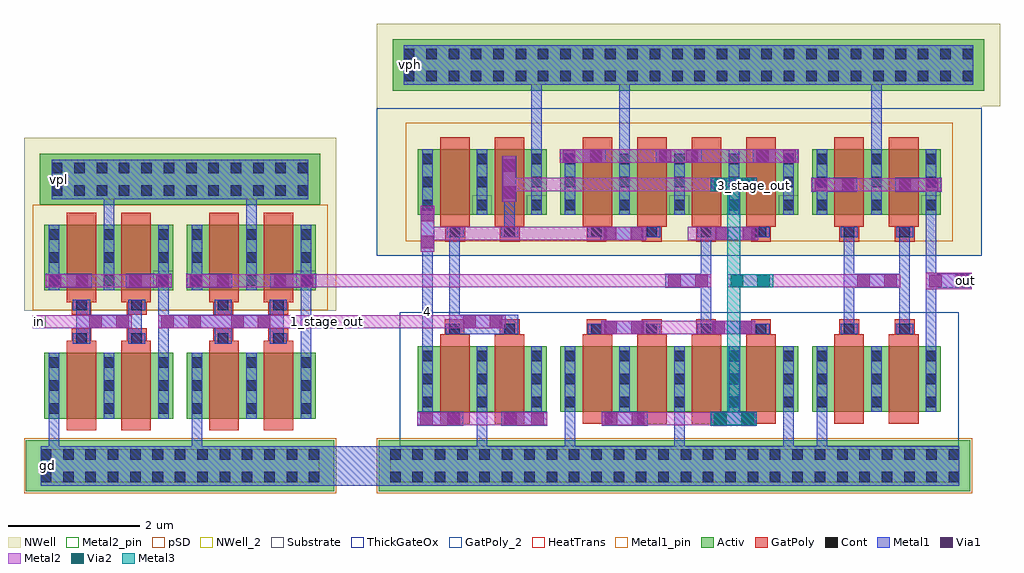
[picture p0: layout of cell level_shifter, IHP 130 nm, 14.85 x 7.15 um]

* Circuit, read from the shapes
.subckt level_shifter 1_stage_out 3_stage_out 4 gd in out vph vpl
XM1 n1 in gd gd sg13_lv_nmos w=1u l=0.45u
XM2 1_stage_out in n1 gd sg13_lv_nmos w=1u l=0.45u
XM3 n2 1_stage_out gd gd sg13_lv_nmos w=1u l=0.45u
XM4 n3 1_stage_out n2 gd sg13_lv_nmos w=1u l=0.45u
XM5 gd 1_stage_out 4 gd sg13_hv_nmos w=1u l=0.45u m=2
XM6 3_stage_out n3 gd gd sg13_hv_nmos w=1u l=0.45u m=4
XM7 n4 3_stage_out gd gd sg13_hv_nmos w=1u l=0.45u
XM8 out 3_stage_out n4 gd sg13_hv_nmos w=1u l=0.45u
XM9 vpl in 1_stage_out vpl sg13_lv_pmos w=1u l=0.45u m=2
XM10 vpl 1_stage_out n3 vpl sg13_lv_pmos w=1u l=0.45u m=2
XM11 n5 1_stage_out 4 vph sg13_hv_pmos w=1u l=0.45u
XM12 vph 3_stage_out n5 vph sg13_hv_pmos w=1u l=0.45u
XM13 vph 4 n6 vph sg13_hv_pmos w=1u l=0.45u m=2
XM14 3_stage_out n3 n6 vph sg13_hv_pmos w=1u l=0.45u m=2
XM15 vph 3_stage_out out vph sg13_hv_pmos w=1u l=0.45u m=2
.ends

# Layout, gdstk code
from math import pi, radians
import gdstk
lib = gdstk.Library(unit=1e-6, precision=1e-09)
def R(c, l, rs):  # rectangles x0, y0, x1, y1
    for r in rs: c.add(gdstk.rectangle(r[:2], r[2:], *l))
def A(c, l, x, y, w, h, nx, ny, dx, dy):  # array of equal rectangles
    R(c, l, [(x+i*dx, y+j*dy, x+i*dx+w, y+j*dy+h) for i in range(nx) for j in range(ny)])
Activ = (1, 0)
GatPoly = (5, 0)
GatPoly_2 = (5, 2)
Cont = (6, 0)
Metal1 = (8, 0)
Metal1_pin = (8, 2)
Metal2 = (10, 0)
Metal2_pin = (10, 2)
pSD = (14, 0)
Via1 = (19, 0)
Via2 = (29, 0)
Metal3 = (30, 0)
NWell = (31, 0)
NWell_2 = (31, 2)
Substrate = (40, 0)
ThickGateOx = (44, 0)
HeatTrans = (51, 0)

nmos = lib.new_cell('nmos')
R(nmos, Activ, [(0,0,0.3,0.3), (0,0,1.13,1), (0.83,0,1.13,0.3)])
R(nmos, GatPoly, [(0.34,-0.18,0.79,1.18)])
R(nmos, GatPoly_2, [(0.34,-0.18,0.79,1.18)])
A(nmos, Cont, 0.07, 0.07, 0.16, 0.16, 1, 3, 0, 0.35)
A(nmos, Cont, 0.9, 0.07, 0.16, 0.16, 1, 3, 0, 0.35)
R(nmos, Metal1, [(0.07,0,0.23,1), (0.9,0,1.06,1)])
R(nmos, Metal1_pin, [(0.07,0,0.23,1), (0.9,0,1.06,1)])
R(nmos, HeatTrans, [(0.34,-0.18,0.79,1.18)])
nmos.add(gdstk.Label('nmos', (0.565,0.5), layer=63, texttype=0))
nmos.add(gdstk.Label('nmos', (0.565,0.5), layer=51, texttype=0))

pmos = lib.new_cell('pmos')
A(pmos, Activ, 0, 0, 0.3, 0.3, 3, 1, 0.83, 0)
R(pmos, Activ, [(0,0,1.96,1)])
R(pmos, GatPoly, [(0.34,-0.18,0.79,1.18), (0.34,-0.18,0.79,1.18), (1.17,-0.18,1.62,1.18)])
A(pmos, Cont, 0.07, 0.07, 0.16, 0.16, 3, 3, 0.83, 0.35)
R(pmos, Metal1, [(0.07,0,0.23,1), (0.07,0,0.23,1), (0.9,0,1.06,1), (0.9,0,1.06,1), (1.73,0,1.89,1)])
R(pmos, pSD, [(-0.18,-0.3,2.14,1.3)])
R(pmos, NWell, [(-0.31,-0.31,2.27,1.31)])
R(pmos, Substrate, [(1.66,0,1.96,0.3)])
R(pmos, HeatTrans, [(0.34,-0.18,0.79,1.18), (1.17,-0.18,1.62,1.18)])
pmos.add(gdstk.Label('pmos', (0.565,0.5), layer=63, texttype=0))
pmos.add(gdstk.Label('pmos', (0.565,0.5), layer=51, texttype=0))
pmos.add(gdstk.Label('pmos', (1.395,0.5), layer=51, texttype=0))

ntap1 = lib.new_cell('ntap1')
R(ntap1, Activ, [(0,0,4.27,0.78)])
A(ntap1, Cont, 0.185, 0.14, 0.16, 0.16, 12, 2, 0.34, 0.34)
R(ntap1, Metal1, [(0.185,0.09,4.085,0.69)])
R(ntap1, Metal1_pin, [(0.185,0.09,4.085,0.69), (0.185,0.14,4.085,0.64)])
R(ntap1, NWell, [(-0.24,-0.24,4.51,1.02), (0,0,4.27,0.78)])
R(ntap1, NWell_2, [(0,0,4.27,0.78)])
ntap1.add(gdstk.Label('well', (2.135,0.01), layer=31, texttype=0))
ntap1.add(gdstk.Label('well', (2.135,0.01), layer=63, texttype=0))

via_3 = lib.new_cell('Via$3')
R(via_3, Metal1, [(-0.35,-0.105,0.35,0.105)])
R(via_3, Metal2, [(-0.35,-0.1,0.35,0.1)])
R(via_3, Via1, [(-0.3,-0.095,-0.11,0.095), (0.11,-0.095,0.3,0.095)])

ptap1 = lib.new_cell('ptap1')
R(ptap1, Activ, [(0,0,4.69,0.78)])
A(ptap1, Cont, 0.225, 0.14, 0.16, 0.16, 13, 2, 0.34, 0.34)
R(ptap1, Metal1, [(0.225,0.09,4.465,0.69), (0.225,0.14,4.465,0.64)])
R(ptap1, Metal1_pin, [(0.225,0.14,4.465,0.64)])
R(ptap1, pSD, [(-0.03,-0.03,4.72,0.81)])
R(ptap1, Substrate, [(0,0,4.69,0.78)])
ptap1.add(gdstk.Label('sub!', (2.345,0.01), layer=63, texttype=0))
ptap1.add(gdstk.Label('sub!', (2.345,0.01), layer=40, texttype=0))

via = lib.new_cell('Via')
R(via, GatPoly, [(-0.15,-0.15,0.15,0.15)])
R(via, Cont, [(-0.08,-0.08,0.08,0.08)])
R(via, Metal1, [(-0.13,-0.08,0.13,0.08)])

pmoshv = lib.new_cell('pmosHV')
R(pmoshv, Activ, [(0,0,0.3,0.3), (0,0,1.13,1), (0.83,0,1.13,0.3)])
R(pmoshv, GatPoly, [(0.34,-0.18,0.79,1.18)])
R(pmoshv, GatPoly_2, [(0.34,-0.18,0.79,1.18)])
A(pmoshv, Cont, 0.07, 0.07, 0.16, 0.16, 1, 3, 0, 0.35)
A(pmoshv, Cont, 0.9, 0.07, 0.16, 0.16, 1, 3, 0, 0.35)
R(pmoshv, Metal1, [(0.07,0,0.23,1), (0.9,0,1.06,1)])
R(pmoshv, Metal1_pin, [(0.07,0,0.23,1), (0.9,0,1.06,1)])
R(pmoshv, pSD, [(-0.18,-0.4,1.31,1.4)])
R(pmoshv, NWell, [(-0.62,-0.62,1.75,1.62)])
R(pmoshv, Substrate, [(0.83,0,1.13,0.3)])
R(pmoshv, ThickGateOx, [(-0.62,-0.62,1.75,1.62)])
R(pmoshv, HeatTrans, [(0.34,-0.18,0.79,1.18)])
pmoshv.add(gdstk.Label('pmosHV', (0.565,0.5), layer=63, texttype=0))
pmoshv.add(gdstk.Label('pmos', (0.565,0.5), layer=51, texttype=0))

pmoshv_1 = lib.new_cell('pmosHV$1')
A(pmoshv_1, Activ, 0, 0, 0.3, 0.3, 3, 1, 0.83, 0)
R(pmoshv_1, Activ, [(0,0,1.96,1)])
R(pmoshv_1, GatPoly, [(0.34,-0.18,0.79,1.18), (1.17,-0.18,1.62,1.18)])
R(pmoshv_1, GatPoly_2, [(0.34,-0.18,0.79,1.18)])
A(pmoshv_1, Cont, 0.07, 0.07, 0.16, 0.16, 3, 3, 0.83, 0.35)
A(pmoshv_1, Metal1, 0.07, 0, 0.16, 1, 3, 1, 0.83, 0)
R(pmoshv_1, Metal1_pin, [(0.07,0,0.23,1), (0.9,0,1.06,1)])
R(pmoshv_1, pSD, [(-0.18,-0.4,2.14,1.4)])
R(pmoshv_1, NWell, [(-0.62,-0.62,2.58,1.62)])
R(pmoshv_1, Substrate, [(1.66,0,1.96,0.3)])
R(pmoshv_1, ThickGateOx, [(-0.62,-0.62,2.58,1.62)])
R(pmoshv_1, HeatTrans, [(0.34,-0.18,0.79,1.18), (1.17,-0.18,1.62,1.18)])
pmoshv_1.add(gdstk.Label('pmosHV', (0.565,0.5), layer=63, texttype=0))
pmoshv_1.add(gdstk.Label('pmos', (0.565,0.5), layer=51, texttype=0))
pmoshv_1.add(gdstk.Label('pmos', (1.395,0.5), layer=51, texttype=0))

nmoshv_1 = lib.new_cell('nmosHV$1')
A(nmoshv_1, Activ, 0, 0, 0.3, 0.3, 5, 1, 0.83, 0)
R(nmoshv_1, Activ, [(0,0,3.62,1)])
A(nmoshv_1, GatPoly, 0.34, -0.18, 0.45, 1.36, 4, 1, 0.83, 0)
R(nmoshv_1, GatPoly_2, [(0.34,-0.18,0.79,1.18)])
A(nmoshv_1, Cont, 0.07, 0.07, 0.16, 0.16, 5, 3, 0.83, 0.35)
A(nmoshv_1, Metal1, 0.07, 0, 0.16, 1, 5, 1, 0.83, 0)
R(nmoshv_1, Metal1_pin, [(0.07,0,0.23,1), (0.9,0,1.06,1)])
R(nmoshv_1, ThickGateOx, [(-0.27,-0.52,3.89,1.52)])
A(nmoshv_1, HeatTrans, 0.34, -0.18, 0.45, 1.36, 4, 1, 0.83, 0)
nmoshv_1.add(gdstk.Label('nmosHV', (0.565,0.5), layer=63, texttype=0))
nmoshv_1.add(gdstk.Label('nmosHV', (0.565,0.5), layer=51, texttype=0))
nmoshv_1.add(gdstk.Label('nmosHV', (1.395,0.5), layer=51, texttype=0))
nmoshv_1.add(gdstk.Label('nmosHV', (2.225,0.5), layer=51, texttype=0))
nmoshv_1.add(gdstk.Label('nmosHV', (3.055,0.5), layer=51, texttype=0))

ntap1_2 = lib.new_cell('ntap1$2')
R(ntap1_2, Activ, [(0,0,9,0.78)])
A(ntap1_2, Cont, 0.17, 0.14, 0.16, 0.16, 26, 2, 0.34, 0.34)
R(ntap1_2, Metal1, [(0.17,0.09,8.83,0.69)])
R(ntap1_2, Metal1_pin, [(0.17,0.09,8.83,0.69), (0.17,0.14,8.83,0.64)])
R(ntap1_2, NWell, [(-0.24,-0.24,9.24,1.02), (0,0,9,0.78)])
R(ntap1_2, NWell_2, [(0,0,9,0.78)])
ntap1_2.add(gdstk.Label('well', (4.5,0.01), layer=31, texttype=0))
ntap1_2.add(gdstk.Label('well', (4.5,0.01), layer=63, texttype=0))

nmoshv = lib.new_cell('nmosHV')
A(nmoshv, Activ, 0, 0, 0.3, 0.3, 3, 1, 0.83, 0)
R(nmoshv, Activ, [(0,0,1.96,1)])
R(nmoshv, GatPoly, [(0.34,-0.18,0.79,1.18), (1.17,-0.18,1.62,1.18)])
R(nmoshv, GatPoly_2, [(0.34,-0.18,0.79,1.18)])
A(nmoshv, Cont, 0.07, 0.07, 0.16, 0.16, 3, 3, 0.83, 0.35)
A(nmoshv, Metal1, 0.07, 0, 0.16, 1, 3, 1, 0.83, 0)
R(nmoshv, Metal1_pin, [(0.07,0,0.23,1), (0.9,0,1.06,1)])
R(nmoshv, ThickGateOx, [(-0.27,-0.52,2.23,1.52)])
R(nmoshv, HeatTrans, [(0.34,-0.18,0.79,1.18), (1.17,-0.18,1.62,1.18)])
nmoshv.add(gdstk.Label('nmosHV', (0.565,0.5), layer=63, texttype=0))
nmoshv.add(gdstk.Label('nmosHV', (0.565,0.5), layer=51, texttype=0))
nmoshv.add(gdstk.Label('nmosHV', (1.395,0.5), layer=51, texttype=0))

ptap1_2 = lib.new_cell('ptap1$2')
R(ptap1_2, Activ, [(0,0,9,0.78)])
A(ptap1_2, Cont, 0.17, 0.14, 0.16, 0.16, 26, 2, 0.34, 0.34)
R(ptap1_2, Metal1, [(0.17,0.09,8.83,0.69), (0.17,0.14,8.83,0.64)])
R(ptap1_2, Metal1_pin, [(0.17,0.14,8.83,0.64)])
R(ptap1_2, pSD, [(-0.03,-0.03,9.03,0.81)])
R(ptap1_2, Substrate, [(0,0,9,0.78)])
ptap1_2.add(gdstk.Label('sub!', (4.5,0.01), layer=63, texttype=0))
ptap1_2.add(gdstk.Label('sub!', (4.5,0.01), layer=40, texttype=0))

via_2 = lib.new_cell('Via$2')
R(via_2, Metal1, [(-0.35,-0.105,0.35,0.105)])
R(via_2, Metal2, [(-0.35,-0.1,0.35,0.1)])
R(via_2, Via1, [(-0.3,-0.095,-0.11,0.095), (0.11,-0.095,0.3,0.095)])

via_7 = lib.new_cell('Via$7')
R(via_7, Metal2, [(-0.35,-0.1,0.35,0.1)])
R(via_7, Via2, [(-0.3,-0.095,-0.11,0.095), (0.11,-0.095,0.3,0.095)])
R(via_7, Metal3, [(-0.35,-0.1,0.35,0.1)])

nmoshv_2 = lib.new_cell('nmosHV$2')
R(nmoshv_2, Activ, [(0,0,0.3,0.3), (0,0,1.13,1), (0.83,0,1.13,0.3)])
R(nmoshv_2, GatPoly, [(0.34,-0.18,0.79,1.18)])
R(nmoshv_2, GatPoly_2, [(0.34,-0.18,0.79,1.18)])
A(nmoshv_2, Cont, 0.07, 0.07, 0.16, 0.16, 1, 3, 0, 0.35)
A(nmoshv_2, Cont, 0.9, 0.07, 0.16, 0.16, 1, 3, 0, 0.35)
R(nmoshv_2, Metal1, [(0.07,0,0.23,1), (0.9,0,1.06,1)])
R(nmoshv_2, Metal1_pin, [(0.07,0,0.23,1), (0.9,0,1.06,1)])
R(nmoshv_2, ThickGateOx, [(-0.27,-0.52,1.4,1.52)])
R(nmoshv_2, HeatTrans, [(0.34,-0.18,0.79,1.18)])
nmoshv_2.add(gdstk.Label('nmosHV', (0.565,0.5), layer=63, texttype=0))
nmoshv_2.add(gdstk.Label('nmosHV', (0.565,0.5), layer=51, texttype=0))

level_shifter = lib.new_cell('level_shifter')
R(level_shifter, Metal1, [(28.05,21.705,29.38,22.305), (24.51,24.025,24.56,24.375), (25.14,24.025,25.35,24.375), (26.455,24.025,26.505,24.375), (26.665,24.025,26.715,24.375), (27.295,24.025,27.35,24.375), (26.295,24.095,26.675,24.305), (30.885,24.165,31.075,24.305), (33.85,25.435,34.03,25.645)])
R(level_shifter, Metal1_pin, [(23.81,21.905,24.01,22.105), (23.98,26.265,24.18,26.465), (29.335,28.005,29.535,28.205)])
R(level_shifter, Metal2, [(37.275,24.695,37.975,24.94)])
R(level_shifter, Metal2_pin, [(23.685,24.1,23.885,24.3), (37.775,24.72,37.975,24.92)])
R(level_shifter, NWell, [(28.925,25.205,38.13,28.735)])
level_shifter.add(gdstk.FlexPath([(35.695,22.825),(35.695,22.305)], 0.16, ends="flush", simple_path=True, layer=8, datatype=0))  # Metal1
level_shifter.add(gdstk.FlexPath([(36.525,26.825),(36.525,27.805)], 0.16, ends="flush", simple_path=True, layer=8, datatype=0))  # Metal1
level_shifter.add(gdstk.FlexPath([(37.355,25.825),(37.355,23.825)], 0.16, ends="flush", simple_path=True, layer=8, datatype=0))  # Metal1
level_shifter.add(gdstk.FlexPath([(35.715,26.28),(35.715,26.28)], 0.16, ends="flush", simple_path=True, layer=8, datatype=0))  # Metal1
level_shifter.add(gdstk.FlexPath([(36.11,24.085),(36.11,24.82)], 0.16, ends="flush", simple_path=True, layer=8, datatype=0))  # Metal1
level_shifter.add(gdstk.FlexPath([(36.955,24.085),(36.955,24.82)], 0.16, ends="flush", simple_path=True, layer=8, datatype=0))  # Metal1
level_shifter.add(gdstk.FlexPath([(36.11,25.565),(36.11,24.82)], 0.16, ends="flush", simple_path=True, layer=8, datatype=0))  # Metal1
level_shifter.add(gdstk.FlexPath([(36.955,25.565),(36.955,24.82)], 0.16, ends="flush", simple_path=True, layer=8, datatype=0))  # Metal1
level_shifter.add(gdstk.FlexPath([(30.945,24.085),(30.105,24.085)], 0.16, ends="flush", simple_path=True, layer=8, datatype=0))  # Metal1
level_shifter.add(gdstk.FlexPath([(30.105,25.565),(30.105,24.085)], 0.16, ends="flush", simple_path=True, layer=8, datatype=0))  # Metal1
level_shifter.add(gdstk.FlexPath([(30.105,24.815),(30.105,24.815)], 0.16, ends="flush", simple_path=True, layer=8, datatype=0))  # Metal1
level_shifter.add(gdstk.FlexPath([(29.695,25.825),(29.695,23.825)], 0.16, ends="flush", simple_path=True, layer=8, datatype=0))  # Metal1
level_shifter.add(gdstk.FlexPath([(30.525,22.825),(30.525,21.945)], 0.16, ends="flush", simple_path=True, layer=8, datatype=0))  # Metal1
level_shifter.add(gdstk.FlexPath([(31.355,26.825),(31.355,27.805)], 0.16, ends="flush", simple_path=True, layer=8, datatype=0))  # Metal1
level_shifter.add(gdstk.FlexPath([(32.695,26.825),(32.695,27.805)], 0.16, ends="flush", simple_path=True, layer=8, datatype=0))  # Metal1
level_shifter.add(gdstk.FlexPath([(30.945,25.565),(30.945,25.565)], 0.16, ends="flush", simple_path=True, layer=8, datatype=0))  # Metal1
level_shifter.add(gdstk.FlexPath([(34.355,26.285),(34.355,26.285)], 0.16, ends="flush", simple_path=True, layer=8, datatype=0))  # Metal1
level_shifter.add(gdstk.FlexPath([(33.93,25.57),(33.93,24.085)], 0.16, ends="flush", simple_path=True, layer=8, datatype=0))  # Metal1
level_shifter.add(gdstk.FlexPath([(30.945,25.565),(30.945,26.285)], 0.16, ends="flush", simple_path=True, layer=8, datatype=0))  # Metal1
level_shifter.add(gdstk.FlexPath([(32.265,24.085),(33.105,24.085)], 0.16, ends="flush", simple_path=True, layer=8, datatype=0))  # Metal1
level_shifter.add(gdstk.FlexPath([(33.93,24.085),(34.77,24.085)], 0.16, ends="flush", simple_path=True, layer=8, datatype=0))  # Metal1
level_shifter.add(gdstk.FlexPath([(29.715,22.72),(29.715,22.72)], 0.16, ends="flush", simple_path=True, layer=8, datatype=0))  # Metal1
level_shifter.add(gdstk.FlexPath([(31.865,22.825),(31.865,21.945)], 0.16, ends="flush", simple_path=True, layer=8, datatype=0))  # Metal1
level_shifter.add(gdstk.FlexPath([(33.525,22.825),(33.525,21.945)], 0.16, ends="flush", simple_path=True, layer=8, datatype=0))  # Metal1
level_shifter.add(gdstk.FlexPath([(35.185,22.825),(35.185,21.945)], 0.16, ends="flush", simple_path=True, layer=8, datatype=0))  # Metal1
level_shifter.add(gdstk.FlexPath([(26.215,24.82),(26.215,24.82)], 0.16, ends="flush", simple_path=True, layer=8, datatype=0))  # Metal1
level_shifter.add(gdstk.FlexPath([(24.015,24.82),(24.015,24.82)], 0.16, ends="flush", simple_path=True, layer=8, datatype=0))  # Metal1
level_shifter.add(gdstk.FlexPath([(24.015,22.725),(24.015,22.305)], 0.16, ends="flush", simple_path=True, layer=8, datatype=0))  # Metal1
level_shifter.add(gdstk.FlexPath([(26.585,23.945),(26.585,24.455)], 0.16, ends="flush", simple_path=True, layer=8, datatype=0))  # Metal1
level_shifter.add(gdstk.FlexPath([(27.425,23.945),(27.425,24.455)], 0.16, ends="flush", simple_path=True, layer=8, datatype=0))  # Metal1
level_shifter.add(gdstk.FlexPath([(27.845,24.675),(27.845,23.725)], 0.16, ends="flush", simple_path=True, layer=8, datatype=0))  # Metal1
level_shifter.add(gdstk.FlexPath([(26.185,22.725),(26.185,22.305)], 0.16, ends="flush", simple_path=True, layer=8, datatype=0))  # Metal1
level_shifter.add(gdstk.FlexPath([(24.845,25.675),(24.845,26.065)], 0.16, ends="flush", simple_path=True, layer=8, datatype=0))  # Metal1
level_shifter.add(gdstk.FlexPath([(27.015,25.675),(27.015,26.065)], 0.16, ends="flush", simple_path=True, layer=8, datatype=0))  # Metal1
level_shifter.add(gdstk.FlexPath([(24.43,23.945),(24.43,24.455)], 0.16, ends="flush", simple_path=True, layer=8, datatype=0))  # Metal1
level_shifter.add(gdstk.FlexPath([(25.27,23.945),(25.27,24.455)], 0.16, ends="flush", simple_path=True, layer=8, datatype=0))  # Metal1
level_shifter.add(gdstk.FlexPath([(25.675,24.675),(25.675,23.725)], 0.16, ends="flush", simple_path=True, layer=8, datatype=0))  # Metal1
level_shifter.add(gdstk.FlexPath([(36.14,26.28),(36.95,26.28)], 0.2, ends="flush", simple_path=True, layer=10, datatype=0))  # Metal2
level_shifter.add(gdstk.FlexPath([(34.81,24.82),(36.885,24.82)], 0.2, ends="flush", simple_path=True, layer=10, datatype=0))  # Metal2
level_shifter.add(gdstk.FlexPath([(37.275,24.82),(37.975,24.82)], 0.2, ends="flush", simple_path=True, layer=10, datatype=0))  # Metal2
level_shifter.add(gdstk.FlexPath([(30.17,24.2),(28.925,24.2)], 0.2, ends="flush", simple_path=True, layer=10, datatype=0))  # Metal2
level_shifter.add(gdstk.FlexPath([(32.435,25.54),(29.695,25.54)], 0.2, ends="flush", simple_path=True, layer=10, datatype=0))  # Metal2
level_shifter.add(gdstk.FlexPath([(34.68,24.11),(32.335,24.11)], 0.2, ends="flush", simple_path=True, layer=10, datatype=0))  # Metal2
level_shifter.add(gdstk.FlexPath([(30.14,22.72),(30.95,22.72)], 0.2, ends="flush", simple_path=True, layer=10, datatype=0))  # Metal2
level_shifter.add(gdstk.FlexPath([(33.655,25.54),(34.125,25.54)], 0.2, ends="flush", simple_path=True, layer=10, datatype=0))  # Metal2
level_shifter.add(gdstk.FlexPath([(34.355,26.285),(34.355,26.285)], 0.2, ends="flush", simple_path=True, layer=10, datatype=0))  # Metal2
level_shifter.add(gdstk.FlexPath([(31.85,26.72),(35.345,26.72)], 0.2, ends="flush", simple_path=True, layer=10, datatype=0))  # Metal2
level_shifter.add(gdstk.FlexPath([(34.56,26.285),(30.94,26.285)], 0.2, ends="flush", simple_path=True, layer=10, datatype=0))  # Metal2
level_shifter.add(gdstk.FlexPath([(34.15,22.72),(32.695,22.72)], 0.2, ends="flush", simple_path=True, layer=10, datatype=0))  # Metal2
level_shifter.add(gdstk.FlexPath([(28.695,24.205),(28.695,24.205)], 0.2, ends="flush", simple_path=True, layer=10, datatype=0))  # Metal2
level_shifter.add(gdstk.FlexPath([(28.925,24.2),(28.42,24.2)], 0.2, ends="flush", simple_path=True, layer=10, datatype=0))  # Metal2
level_shifter.add(gdstk.FlexPath([(26.64,24.82),(27.45,24.82)], 0.2, ends="flush", simple_path=True, layer=10, datatype=0))  # Metal2
level_shifter.add(gdstk.FlexPath([(27.86,24.82),(28.42,24.82)], 0.2, ends="flush", simple_path=True, layer=10, datatype=0))  # Metal2
level_shifter.add(gdstk.FlexPath([(24.44,24.82),(25.25,24.82)], 0.2, ends="flush", simple_path=True, layer=10, datatype=0))  # Metal2
level_shifter.add(gdstk.FlexPath([(28.42,24.82),(33.93,24.82)], 0.2, ends="flush", simple_path=True, layer=10, datatype=0))  # Metal2
level_shifter.add(gdstk.FlexPath([(30.17,24.2),(30.835,24.2)], 0.2, ends="flush", simple_path=True, layer=10, datatype=0))  # Metal2
level_shifter.add(gdstk.FlexPath([(24.64,24.2),(23.685,24.2)], 0.2, ends="flush", simple_path=True, layer=10, datatype=0))  # Metal2
level_shifter.add(gdstk.FlexPath([(26.15,24.2),(26.8,24.2)], 0.2, ends="flush", simple_path=True, layer=10, datatype=0))  # Metal2
level_shifter.add(gdstk.FlexPath([(27.21,24.2),(28.42,24.2)], 0.2, ends="flush", simple_path=True, layer=10, datatype=0))  # Metal2
level_shifter.add(gdstk.FlexPath([(26.585,24.495),(26.585,24.495)], 0.16, ends="flush", simple_path=True, layer=5, datatype=0))  # GatPoly
level_shifter.add(gdstk.FlexPath([(24.43,24.495),(24.43,24.495)], 0.16, ends="flush", simple_path=True, layer=5, datatype=0))  # GatPoly
level_shifter.add(gdstk.FlexPath([(34.355,24.82),(34.355,24.82)], 0.2, ends="flush", simple_path=True, layer=30, datatype=0))  # Metal3
level_shifter.add(gdstk.FlexPath([(34.355,26.285),(34.355,22.72)], 0.2, ends="flush", simple_path=True, layer=30, datatype=0))  # Metal3
level_shifter.add(gdstk.Reference(nmos, (23.865,22.725)))
level_shifter.add(gdstk.Reference(nmos, (24.695,22.725)))
level_shifter.add(gdstk.Reference(pmos, (26.035,24.675)))
level_shifter.add(gdstk.Reference(nmos, (26.035,22.725)))
level_shifter.add(gdstk.Reference(nmos, (26.865,22.725)))
level_shifter.add(gdstk.Reference(ntap1, (23.795,25.975)))
level_shifter.add(gdstk.Reference(via_3, (25.455,24.82)))
level_shifter.add(gdstk.Reference(via_3, (24.235,24.82)))
level_shifter.add(gdstk.Reference(pmos, (23.865,24.675)))
level_shifter.add(gdstk.Reference(ptap1, (23.585,21.615)))
level_shifter.add(gdstk.Reference(via, (26.585,23.945)))
level_shifter.add(gdstk.Reference(via, (27.425,23.945)))
level_shifter.add(gdstk.Reference(via_3, (27.005,24.2)))
level_shifter.add(gdstk.Reference(via, (26.585,24.455)))
level_shifter.add(gdstk.Reference(via, (27.425,24.455)))
level_shifter.add(gdstk.Reference(via_3, (25.945,24.2)))
level_shifter.add(gdstk.Reference(via_3, (27.655,24.82)))
level_shifter.add(gdstk.Reference(via_3, (26.375,24.82)))
level_shifter.add(gdstk.Reference(pmoshv, (29.545,25.825)))
level_shifter.add(gdstk.Reference(pmoshv, (30.375,25.825)))
level_shifter.add(gdstk.Reference(pmoshv_1, (31.715,25.825)))
level_shifter.add(gdstk.Reference(nmoshv_1, (31.715,22.825)))
level_shifter.add(gdstk.Reference(ntap1_2, (29.165,27.715)))
level_shifter.add(gdstk.Reference(via, (25.27,24.455)))
level_shifter.add(gdstk.Reference(via, (24.43,24.455)))
level_shifter.add(gdstk.Reference(via_3, (24.845,24.2)))
level_shifter.add(gdstk.Reference(via, (25.27,23.945)))
level_shifter.add(gdstk.Reference(via, (24.43,23.945)))
level_shifter.add(gdstk.Reference(via, (30.105,24.085)))
level_shifter.add(gdstk.Reference(via, (30.945,24.085)))
level_shifter.add(gdstk.Reference(nmoshv, (29.545,22.825)))
level_shifter.add(gdstk.Reference(ptap1_2, (28.955,21.615)))
level_shifter.add(gdstk.Reference(via, (30.115,25.565), rotation=pi))
level_shifter.add(gdstk.Reference(via, (30.945,25.565)))
level_shifter.add(gdstk.Reference(via_2, (30.535,24.2)))
level_shifter.add(gdstk.Reference(via, (32.265,24.085)))
level_shifter.add(gdstk.Reference(via, (33.105,24.085)))
level_shifter.add(gdstk.Reference(via, (33.93,24.085), rotation=pi))
level_shifter.add(gdstk.Reference(via, (34.77,24.085)))
level_shifter.add(gdstk.Reference(via, (33.105,25.565)))
level_shifter.add(gdstk.Reference(via_2, (29.695,25.615), rotation=pi/2))
level_shifter.add(gdstk.Reference(via_2, (32.675,25.54)))
level_shifter.add(gdstk.Reference(via_2, (32.055,26.72)))
level_shifter.add(gdstk.Reference(via_2, (33.515,26.72)))
level_shifter.add(gdstk.Reference(via_2, (34.995,26.72)))
level_shifter.add(gdstk.Reference(via_2, (32.685,24.11)))
level_shifter.add(gdstk.Reference(via_3, (29.885,22.72)))
level_shifter.add(gdstk.Reference(via_2, (30.94,26.37), rotation=3*pi/2))
level_shifter.add(gdstk.Reference(via_3, (31.165,22.72)))
level_shifter.add(gdstk.Reference(via_2, (34.33,24.11)))
level_shifter.add(gdstk.Reference(via_2, (32.695,22.72)))
level_shifter.add(gdstk.Reference(via_2, (34.355,26.285)))
level_shifter.add(gdstk.Reference(via_7, (34.355,26.285)))
level_shifter.add(gdstk.Reference(via_2, (34.355,22.72)))
level_shifter.add(gdstk.Reference(via_7, (34.355,22.72)))
level_shifter.add(gdstk.Reference(via, (32.265,25.565)))
level_shifter.add(gdstk.Reference(via, (33.93,25.565)))
level_shifter.add(gdstk.Reference(via, (34.77,25.565)))
level_shifter.add(gdstk.Reference(via_2, (34.38,25.54)))
level_shifter.add(gdstk.Reference(via_3, (33.66,24.82)))
level_shifter.add(gdstk.Reference(pmoshv_1, (35.545,25.825)))
level_shifter.add(gdstk.Reference(pmoshv_1, (33.375,25.825)))
level_shifter.add(gdstk.Reference(nmoshv_2, (35.545,22.825)))
level_shifter.add(gdstk.Reference(nmoshv_2, (36.375,22.825)))
level_shifter.add(gdstk.Reference(via, (36.11,24.085)))
level_shifter.add(gdstk.Reference(via, (36.955,24.085)))
level_shifter.add(gdstk.Reference(via, (36.11,25.565)))
level_shifter.add(gdstk.Reference(via, (36.955,25.565)))
level_shifter.add(gdstk.Reference(via_7, (34.605,24.82)))
level_shifter.add(gdstk.Reference(via_3, (35.885,26.28)))
level_shifter.add(gdstk.Reference(via_3, (37.165,26.28)))
level_shifter.add(gdstk.Reference(via_3, (36.535,24.82)))
level_shifter.add(gdstk.Reference(via_3, (37.625,24.82)))
level_shifter.add(gdstk.Label('3_stage_out', (34.665,26.265), layer=10, texttype=25))
level_shifter.add(gdstk.Label('out', (37.875,24.82), layer=10, texttype=25))
level_shifter.add(gdstk.Label('in', (23.785,24.2), layer=10, texttype=25))
level_shifter.add(gdstk.Label('1_stage_out', (28.17,24.2), layer=10, texttype=25))
level_shifter.add(gdstk.Label('vph', (29.435,28.105), layer=8, texttype=25))
level_shifter.add(gdstk.Label('4', (29.695,24.36), layer=8, texttype=25))
level_shifter.add(gdstk.Label('vpl', (24.08,26.365), layer=8, texttype=25))
level_shifter.add(gdstk.Label('gd', (23.91,22.005), layer=8, texttype=25))

lib.write_gds('level_shifter.gds')
